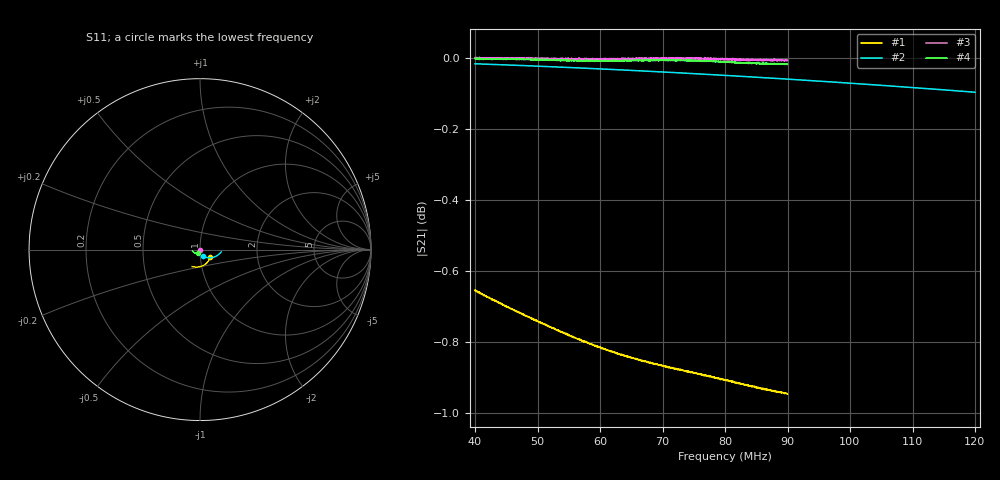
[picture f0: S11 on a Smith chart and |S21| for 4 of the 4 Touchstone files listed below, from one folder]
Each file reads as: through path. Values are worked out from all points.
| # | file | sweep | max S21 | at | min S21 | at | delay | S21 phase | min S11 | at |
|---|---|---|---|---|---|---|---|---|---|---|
| 1 | FERRITE_SAMPLE.S2P | 40 MHz to 90 MHz | -0.65 dB | 40.03 MHz | -0.9 dB | 90 MHz | 2.85 ns | -70 deg at 65.02 MHz | -22.7 dB | 40 MHz |
| 2 | Garnet_Deembed_from_sample_nom.s2p | 40 MHz to 120 MHz | -0.02 dB | 40 MHz | -0.1 dB | 120 MHz | 379 ps | -11 deg at 80 MHz | -27.4 dB | 40 MHz |
| 3 | NO_SAMPLE_TRVNA.s2p | 40 MHz to 90 MHz | 0.00 dB | 40.69 MHz | 0.0 dB | 89.5 MHz | 2.6 ns | -61 deg at 65.02 MHz | -52.4 dB | 42.03 MHz |
| 4 | TEFLON_SAMPLE.S2P | 40 MHz to 90 MHz | 0.00 dB | 40.69 MHz | 0.0 dB | 89.5 MHz | 2.68 ns | -63 deg at 65.02 MHz | -32.6 dB | 40 MHz |
